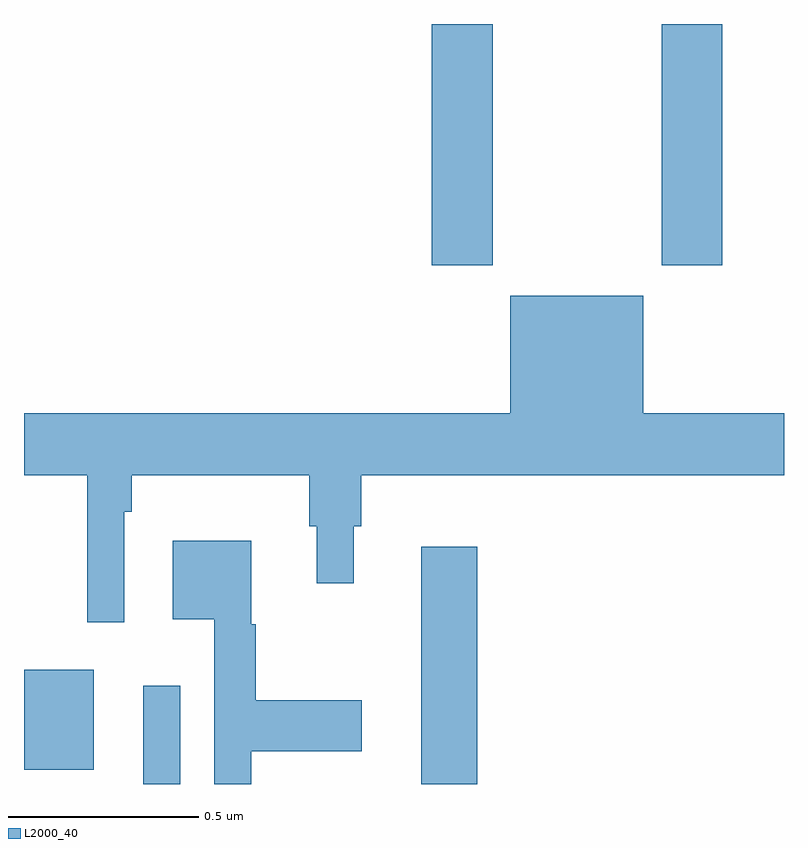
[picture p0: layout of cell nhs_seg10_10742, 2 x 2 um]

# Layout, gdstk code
import gdstk
lib = gdstk.Library(unit=1e-6, precision=1e-09)
def R(c, l, rs):  # rectangles x0, y0, x1, y1
    for r in rs: c.add(gdstk.rectangle(r[:2], r[2:], *l))
def P(c, l, *ps):  # polygons
    for p in ps: c.add(gdstk.Polygon(p, *l))
L2000_40 = (2000, 40)

nhs_seg10_10742 = lib.new_cell('nhs_seg10_10742')
R(nhs_seg10_10742, L2000_40, [(246.314,1303.5,246.411,1303.759), (247.046,1303.5,247.193,1304.125), (246,1303.538,246.184,1303.801), (247.073,1304.865,247.233,1305.5), (247.678,1304.865,247.838,1305.5)])
P(nhs_seg10_10742, L2000_40, [(246.264,1304.216),(246.284,1304.216),(246.284,1304.312),(246.751,1304.312),(246.751,1304.178),(246.77,1304.178),(246.77,1304.028),(246.868,1304.028),(246.868,1304.178),(246.887,1304.178),(246.887,1304.312),(248,1304.312),(248,1304.476),(247.63,1304.476),(247.63,1304.785),(247.28,1304.785),(247.28,1304.476),(246,1304.476),(246,1304.312),(246.167,1304.312),(246.167,1303.926),(246.264,1303.926)],
  [(246.598,1303.586),(246.889,1303.586),(246.889,1303.721),(246.61,1303.721),(246.61,1303.92),(246.598,1303.92),(246.598,1304.14),(246.392,1304.14),(246.392,1303.934),(246.501,1303.934),(246.501,1303.5),(246.598,1303.5)])

lib.write_gds('nhs_seg10_10742.gds')
